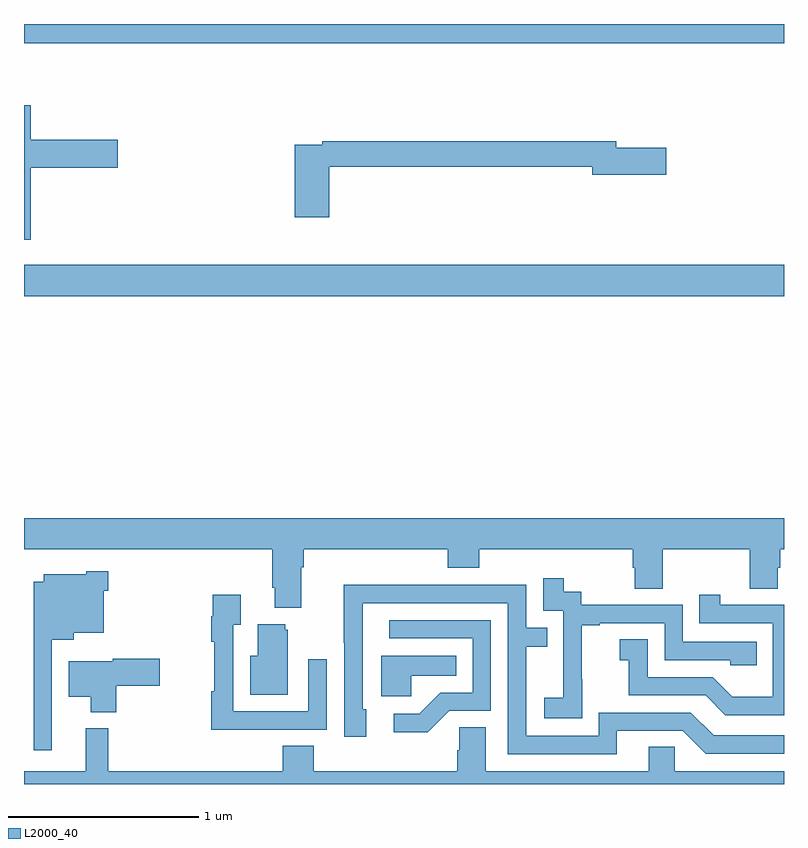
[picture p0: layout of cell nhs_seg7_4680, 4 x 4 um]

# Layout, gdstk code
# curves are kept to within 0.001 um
import gdstk
lib = gdstk.Library(unit=1e-6, precision=1e-09)
def R(c, l, rs):  # rectangles x0, y0, x1, y1
    for r in rs: c.add(gdstk.rectangle(r[:2], r[2:], *l))
def P(c, l, *ps):  # polygons
    for p in ps: c.add(gdstk.Polygon(p, *l))
L2000_40 = (2000, 40)

nhs_seg7_4680 = lib.new_cell('nhs_seg7_4680')
R(nhs_seg7_4680, L2000_40, [(405,1048.568,409,1048.732), (405,1049.9,409,1050)])
P(nhs_seg7_4680, L2000_40, [(405.035,1049.243),(405.493,1049.243),(405.493,1049.39),(405.035,1049.39),(405.035,1049.572),(405,1049.572),(405,1048.865),(405.035,1048.865)],
  [(406.607,1049.248),(407.99,1049.248),(407.99,1049.206),(408.379,1049.206),(408.379,1049.348),(408.118,1049.348),(408.118,1049.384),(406.57,1049.384),(406.57,1049.364),(406.424,1049.364),(406.424,1048.983),(406.607,1048.983)],
  [(406.459,1047.14),(406.472,1047.14),(406.472,1047.236),(407.231,1047.236),(407.231,1047.137),(407.396,1047.137),(407.396,1047.236),(408.203,1047.236),(408.203,1047.138),(408.215,1047.138),(408.215,1047.028),(408.363,1047.028),(408.363,1047.236),(408.82,1047.236),(408.82,1047.028),(408.967,1047.028),(408.967,1047.138),(408.98,1047.138),(408.98,1047.236),(409,1047.236),(409,1047.4),(405,1047.4),(405,1047.236),(406.307,1047.236),(406.307,1047.034),(406.319,1047.034),(406.319,1046.927),(406.459,1046.927)],
  [(405.147,1046.759),(405.262,1046.759),(405.262,1046.795),(405.421,1046.795),(405.421,1047.017),(405.443,1047.017),(405.443,1047.121),(405.327,1047.121),(405.327,1047.103),(405.104,1047.103),(405.104,1047.064),(405.05,1047.064),(405.05,1046.178),(405.147,1046.178)],
  [(407.937,1046.551),(407.936,1046.551),(407.936,1046.835),(408.031,1046.835),(408.031,1046.847),(408.372,1046.847),(408.372,1046.652),(408.717,1046.652),(408.717,1046.625),(408.857,1046.625),(408.857,1046.748),(408.468,1046.748),(408.468,1046.943),(407.934,1046.943),(407.934,1047.012),(407.842,1047.012),(407.842,1047.082),(407.733,1047.082),(407.733,1046.913),(407.838,1046.913),(407.838,1046.684),(407.837,1046.684),(407.837,1046.455),(407.739,1046.455),(407.739,1046.345),(407.937,1046.345)],
  [(408.121,1046.28),(408.468,1046.28),(408.588,1046.16),(409,1046.16),(409,1046.256),(408.63,1046.256),(408.51,1046.376),(408.024,1046.376),(408.024,1046.253),(407.643,1046.253),(407.643,1046.722),(407.753,1046.722),(407.753,1046.823),(407.643,1046.823),(407.643,1047.048),(407.147,1047.048),(407.147,1047.05),(406.684,1047.05),(406.684,1046.743),(406.686,1046.743),(406.686,1046.25),(406.801,1046.25),(406.801,1046.394),(406.782,1046.394),(406.783,1046.952),(407.547,1046.952),(407.547,1046.157),(408.121,1046.157)],
  [(409,1046.943),(408.664,1046.943),(408.664,1046.995),(408.553,1046.995),(408.553,1046.847),(408.942,1046.847),(408.942,1046.458),(408.728,1046.458),(408.624,1046.562),(408.282,1046.562),(408.282,1046.761),(408.135,1046.761),(408.135,1046.651),(408.184,1046.651),(408.184,1046.466),(408.587,1046.466),(408.692,1046.361),(409,1046.361)],
  [(406.277,1046.286),(406.593,1046.286),(406.593,1046.656),(406.497,1046.656),(406.497,1046.382),(406.101,1046.382),(406.101,1046.839),(406.141,1046.839),(406.141,1046.995),(405.993,1046.995),(405.993,1046.882),(405.985,1046.882),(405.985,1046.75),(406,1046.75),(406,1046.489),(405.985,1046.489),(405.985,1046.285),(406.277,1046.285)],
  [(407.238,1046.385),(407.457,1046.385),(407.457,1046.862),(406.923,1046.862),(406.923,1046.766),(407.361,1046.766),(407.361,1046.481),(407.192,1046.481),(407.081,1046.37),(406.947,1046.37),(406.947,1046.273),(407.125,1046.273)],
  [(406.387,1046.811),(406.376,1046.811),(406.376,1046.842),(406.229,1046.842),(406.229,1046.674),(406.19,1046.674),(406.19,1046.471),(406.387,1046.471)],
  [(407.037,1046.57),(407.276,1046.57),(407.276,1046.674),(406.88,1046.674),(406.88,1046.462),(407.037,1046.462)],
  [(405.485,1046.518),(405.715,1046.518),(405.715,1046.66),(405.468,1046.66),(405.468,1046.647),(405.236,1046.647),(405.236,1046.459),(405.35,1046.459),(405.35,1046.378),(405.485,1046.378)],
  [(409,1046.068),(408.426,1046.068),(408.426,1046.195),(408.287,1046.195),(408.287,1046.068),(407.431,1046.068),(407.431,1046.3),(407.292,1046.3),(407.292,1046.177),(407.279,1046.177),(407.279,1046.068),(406.526,1046.068),(406.526,1046.201),(406.361,1046.201),(406.361,1046.068),(405.443,1046.068),(405.443,1046.293),(405.326,1046.293),(405.326,1046.068),(405,1046.068),(405,1046),(409,1046)])

lib.write_gds('nhs_seg7_4680.gds')
